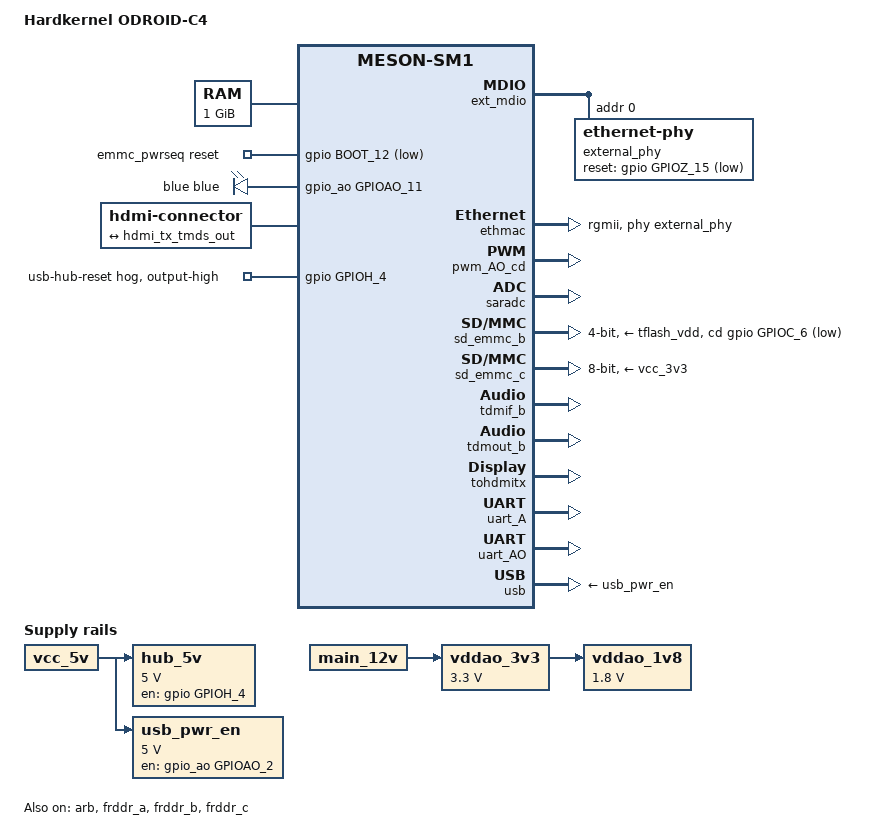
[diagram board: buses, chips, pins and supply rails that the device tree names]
// SPDX-License-Identifier: (GPL-2.0+ OR MIT)
/*
 * Copyright (c) 2020 Dongjin Kim <tobetter@gmail.com>
 */

/dts-v1/;

#include "meson-sm1-odroid.dtsi"

/ {
	compatible = "hardkernel,odroid-c4", "amlogic,sm1";
	model = "Hardkernel ODROID-C4";

	aliases {
		ethernet0 = &ethmac;
		serial0 = &uart_AO;
		serial1 = &uart_A;
	};

	chosen {
		stdout-path = "serial0:115200n8";
	};

	memory@0 {
		device_type = "memory";
		reg = <0x0 0x0 0x0 0x40000000>;
	};

	emmc_pwrseq: emmc-pwrseq {
		compatible = "mmc-pwrseq-emmc";
		reset-gpios = <&gpio BOOT_12 GPIO_ACTIVE_LOW>;
	};

	leds {
		compatible = "gpio-leds";

		blue {
			color = <LED_COLOR_ID_BLUE>;
			function = LED_FUNCTION_STATUS;
			gpios = <&gpio_ao GPIOAO_11 GPIO_ACTIVE_HIGH>;
			linux,default-trigger = "heartbeat";
			panic-indicator;
		};
	};

	hub_5v: regulator-hub_5v {
		compatible = "regulator-fixed";
		regulator-name = "HUB_5V";
		regulator-min-microvolt = <5000000>;
		regulator-max-microvolt = <5000000>;
		vin-supply = <&vcc_5v>;

		/* Connected to the Hub CHIPENABLE, LOW sets low power state */
		gpio = <&gpio GPIOH_4 GPIO_ACTIVE_HIGH>;
		enable-active-high;
	};

	usb_pwr_en: regulator-usb_pwr_en {
		compatible = "regulator-fixed";
		regulator-name = "USB_PWR_EN";
		regulator-min-microvolt = <5000000>;
		regulator-max-microvolt = <5000000>;
		vin-supply = <&vcc_5v>;

		/* Connected to the microUSB port power enable */
		gpio = <&gpio_ao GPIOAO_2 GPIO_ACTIVE_HIGH>;
		enable-active-high;
	};

	vddao_1v8: regulator-vddao_1v8 {
		compatible = "regulator-fixed";
		regulator-name = "VDDAO_1V8";
		regulator-min-microvolt = <1800000>;
		regulator-max-microvolt = <1800000>;
		vin-supply = <&vddao_3v3>;
		regulator-always-on;
	};

	vddao_3v3: regulator-vddao_3v3 {
		compatible = "regulator-fixed";
		regulator-name = "VDDAO_3V3";
		regulator-min-microvolt = <3300000>;
		regulator-max-microvolt = <3300000>;
		vin-supply = <&main_12v>;
		regulator-always-on;
	};

	hdmi-connector {
		compatible = "hdmi-connector";
		type = "a";

		port {
			hdmi_connector_in: endpoint {
				remote-endpoint = <&hdmi_tx_tmds_out>;
			};
		};
	};

	sound {
		compatible = "amlogic,axg-sound-card";
		model = "SM1-ODROID-C4";
		audio-aux-devs = <&tdmout_b>;
		audio-routing = "TDMOUT_B IN 0", "FRDDR_A OUT 1",
				"TDMOUT_B IN 1", "FRDDR_B OUT 1",
				"TDMOUT_B IN 2", "FRDDR_C OUT 1",
				"TDM_B Playback", "TDMOUT_B OUT";

		assigned-clocks = <&clkc CLKID_MPLL2>,
					<&clkc CLKID_MPLL0>,
					<&clkc CLKID_MPLL1>;
		assigned-clock-parents = <0>, <0>, <0>;
		assigned-clock-rates = <294912000>,
							 <270950400>,
							 <393216000>;
		status = "okay";

		dai-link-0 {
			sound-dai = <&frddr_a>;
		};

		dai-link-1 {
			sound-dai = <&frddr_b>;
		};

		dai-link-2 {
			sound-dai = <&frddr_c>;
		};

		/* 8ch hdmi interface */
		dai-link-3 {
			sound-dai = <&tdmif_b>;
			dai-format = "i2s";
			dai-tdm-slot-tx-mask-0 = <1 1>;
			dai-tdm-slot-tx-mask-1 = <1 1>;
			dai-tdm-slot-tx-mask-2 = <1 1>;
			dai-tdm-slot-tx-mask-3 = <1 1>;
			mclk-fs = <256>;

			codec {
				sound-dai = <&tohdmitx TOHDMITX_I2S_IN_B>;
			};
		};

		/* hdmi glue */
		dai-link-4 {
			sound-dai = <&tohdmitx TOHDMITX_I2S_OUT>;

			codec {
				sound-dai = <&hdmi_tx>;
			};
		};
	};
};

&arb {
	status = "okay";
};

&clkc_audio {
	status = "okay";
};

&cpu0 {
	cpu-supply = <&vddcpu>;
	operating-points-v2 = <&cpu_opp_table>;
	clocks = <&clkc CLKID_CPU_CLK>;
	clock-latency = <50000>;
};

&cpu1 {
	cpu-supply = <&vddcpu>;
	operating-points-v2 = <&cpu_opp_table>;
	clocks = <&clkc CLKID_CPU1_CLK>;
	clock-latency = <50000>;
};

&cpu2 {
	cpu-supply = <&vddcpu>;
	operating-points-v2 = <&cpu_opp_table>;
	clocks = <&clkc CLKID_CPU2_CLK>;
	clock-latency = <50000>;
};

&cpu3 {
	cpu-supply = <&vddcpu>;
	operating-points-v2 = <&cpu_opp_table>;
	clocks = <&clkc CLKID_CPU3_CLK>;
	clock-latency = <50000>;
};

&ext_mdio {
	external_phy: ethernet-phy@0 {
		/* Realtek RTL8211F (0x001cc916) */
		reg = <0>;
		max-speed = <1000>;

		reset-assert-us = <10000>;
		reset-deassert-us = <30000>;
		reset-gpios = <&gpio GPIOZ_15 (GPIO_ACTIVE_LOW | GPIO_OPEN_DRAIN)>;

		interrupt-parent = <&gpio_intc>;
		/* MAC_INTR on GPIOZ_14 */
		interrupts = <26 IRQ_TYPE_LEVEL_LOW>;
	};
};

&ethmac {
	pinctrl-0 = <&eth_pins>, <&eth_rgmii_pins>;
	pinctrl-names = "default";
	status = "okay";
	phy-mode = "rgmii";
	phy-handle = <&external_phy>;
	amlogic,tx-delay-ns = <2>;
};

&frddr_a {
	status = "okay";
};

&frddr_b {
	status = "okay";
};

&frddr_c {
	status = "okay";
};

&gpio {
	/*
	 * WARNING: The USB Hub on the Odroid-C4 needs a reset signal
	 * to be turned high in order to be detected by the USB Controller
	 * This signal should be handled by a USB specific power sequence
	 * in order to reset the Hub when USB bus is powered down.
	 */
	usb-hub {
		gpio-hog;
		gpios = <GPIOH_4 GPIO_ACTIVE_HIGH>;
		output-high;
		line-name = "usb-hub-reset";
	};
};

&ir {
	linux,rc-map-name = "rc-odroid";
};

&pwm_AO_cd {
	pinctrl-0 = <&pwm_ao_d_e_pins>;
	pinctrl-names = "default";
	clocks = <&xtal>;
	clock-names = "clkin1";
	status = "okay";
};

&saradc {
	status = "okay";
};

&saradc {
	status = "okay";
};

/* SD card */
&sd_emmc_b {
	status = "okay";
	pinctrl-0 = <&sdcard_c_pins>;
	pinctrl-1 = <&sdcard_clk_gate_c_pins>;
	pinctrl-names = "default", "clk-gate";

	bus-width = <4>;
	cap-sd-highspeed;
	max-frequency = <200000000>;
	sd-uhs-sdr12;
	sd-uhs-sdr25;
	sd-uhs-sdr50;
	sd-uhs-sdr104;
	disable-wp;

	cd-gpios = <&gpio GPIOC_6 GPIO_ACTIVE_LOW>;
	vmmc-supply = <&tflash_vdd>;
	vqmmc-supply = <&tf_io>;
};

/* eMMC */
&sd_emmc_c {
	status = "okay";
	pinctrl-0 = <&emmc_ctrl_pins>, <&emmc_data_8b_pins>, <&emmc_ds_pins>;
	pinctrl-1 = <&emmc_clk_gate_pins>;
	pinctrl-names = "default", "clk-gate";

	bus-width = <8>;
	cap-mmc-highspeed;
	mmc-ddr-1_8v;
	mmc-hs200-1_8v;
	max-frequency = <200000000>;
	disable-wp;

	mmc-pwrseq = <&emmc_pwrseq>;
	vmmc-supply = <&vcc_3v3>;
	vqmmc-supply = <&flash_1v8>;
};

&tdmif_b {
	status = "okay";
};

&tdmout_b {
	status = "okay";
};

&tohdmitx {
	status = "okay";
};

&uart_A {
	status = "okay";
	pinctrl-names = "default";
	pinctrl-0 = <&uart_a_pins>;
};

&uart_AO {
	status = "okay";
	pinctrl-0 = <&uart_ao_a_pins>;
	pinctrl-names = "default";
};

&usb {
	status = "okay";
	vbus-supply = <&usb_pwr_en>;
};

&usb2_phy0 {
	phy-supply = <&vcc_5v>;
};

&usb2_phy1 {
	/* Enable the hub which is connected to this port */
	phy-supply = <&hub_5v>;
};
